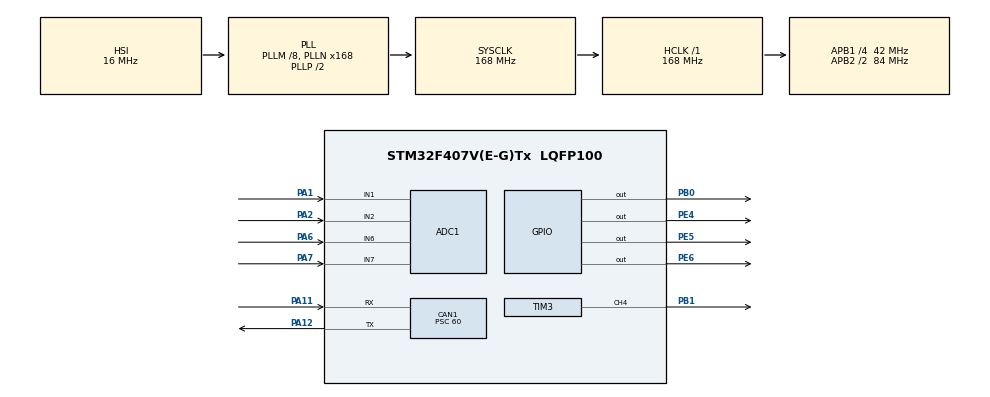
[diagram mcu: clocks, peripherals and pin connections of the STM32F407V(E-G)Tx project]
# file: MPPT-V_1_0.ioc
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ADC1.Channel-0\#ChannelRegularConversion=ADC_CHANNEL_6
ADC1.Channel-1\#ChannelRegularConversion=ADC_CHANNEL_7
ADC1.Channel-2\#ChannelRegularConversion=ADC_CHANNEL_1
ADC1.Channel-3\#ChannelRegularConversion=ADC_CHANNEL_2
ADC1.ClockPrescaler=ADC_CLOCK_SYNC_PCLK_DIV8
ADC1.ContinuousConvMode=ENABLE
ADC1.DMAContinuousRequests=ENABLE
ADC1.NbrOfConversion=4
ADC1.NbrOfConversionFlag=1
ADC1.Rank-0\#ChannelRegularConversion=1
ADC1.Rank-1\#ChannelRegularConversion=2
ADC1.Rank-2\#ChannelRegularConversion=3
ADC1.Rank-3\#ChannelRegularConversion=4
ADC1.SamplingTime-0\#ChannelRegularConversion=ADC_SAMPLETIME_15CYCLES
ADC1.SamplingTime-1\#ChannelRegularConversion=ADC_SAMPLETIME_15CYCLES
ADC1.SamplingTime-2\#ChannelRegularConversion=ADC_SAMPLETIME_15CYCLES
ADC1.SamplingTime-3\#ChannelRegularConversion=ADC_SAMPLETIME_15CYCLES
ADC1.ScanConvMode=ENABLE
ADC1.master=1
CAN1.BS1=CAN_BS1_11TQ
CAN1.BS2=CAN_BS2_2TQ
CAN1.CalculateBaudRate=50000
CAN1.CalculateTimeBit=19999.99
CAN1.CalculateTimeQuantum=1428.5714285714287
CAN1.Mode=CAN_MODE_LOOPBACK
CAN1.NART=ENABLE
CAN1.Prescaler=60
Dma.ADC1.0.Direction=DMA_PERIPH_TO_MEMORY
Dma.ADC1.0.FIFOMode=DMA_FIFOMODE_DISABLE
Dma.ADC1.0.Instance=DMA2_Stream0
Dma.ADC1.0.MemDataAlignment=DMA_MDATAALIGN_WORD
Dma.ADC1.0.MemInc=DMA_MINC_ENABLE
Dma.ADC1.0.Mode=DMA_CIRCULAR
Dma.ADC1.0.PeriphDataAlignment=DMA_PDATAALIGN_WORD
Dma.ADC1.0.PeriphInc=DMA_PINC_DISABLE
Dma.ADC1.0.Priority=DMA_PRIORITY_LOW
Dma.Request0=ADC1
Mcu.Family=STM32F4
Mcu.Name=STM32F407V(E-G)Tx
Mcu.Package=LQFP100
NVIC.DMA2_Stream0_IRQn=true\:0\:0\:false\:false\:true\:false\:true
NVIC.PriorityGroup=NVIC_PRIORITYGROUP_4
NVIC.TIM1_UP_TIM10_IRQn=true\:0\:0\:false\:false\:true\:true\:true
NVIC.TIM4_IRQn=true\:0\:0\:false\:false\:true\:true\:true
PA1.Signal=ADCx_IN1
PA11.GPIO_PuPd=GPIO_PULLDOWN
PA11.Mode=CAN_Activate
PA11.Signal=CAN1_RX
PA12.Mode=CAN_Activate
PA12.Signal=CAN1_TX
PA2.Signal=ADCx_IN2
PA6.Signal=ADCx_IN6
PA7.Signal=ADCx_IN7
PB0.Signal=GPIO_Output
PB1.Signal=S_TIM3_CH4
PC14-OSC32_IN.Mode=LSE-External-Oscillator
PC14-OSC32_IN.Signal=RCC_OSC32_IN
PC15-OSC32_OUT.Mode=LSE-External-Oscillator
PC15-OSC32_OUT.Signal=RCC_OSC32_OUT
PE4.Signal=GPIO_Output
PE5.Signal=GPIO_Output
PE6.Signal=GPIO_Output
PH0-OSC_IN.Mode=HSE-External-Oscillator
PH0-OSC_IN.Signal=RCC_OSC_IN
PH1-OSC_OUT.Mode=HSE-External-Oscillator
PH1-OSC_OUT.Signal=RCC_OSC_OUT
ProjectManager.HeapSize=0x200
ProjectManager.StackSize=0x400
ProjectManager.TargetToolchain=STM32CubeIDE
RCC.48MHZClocksFreq_Value=84000000
RCC.AHBFreq_Value=168000000
RCC.APB1CLKDivider=RCC_HCLK_DIV4
RCC.APB1Freq_Value=42000000
RCC.APB1TimFreq_Value=84000000
RCC.APB2CLKDivider=RCC_HCLK_DIV2
RCC.APB2Freq_Value=84000000
RCC.APB2TimFreq_Value=168000000
RCC.CortexFreq_Value=168000000
RCC.HCLKFreq_Value=168000000
RCC.HSE_VALUE=25000000
RCC.HSI_VALUE=16000000
RCC.PLLM=8
RCC.PLLN=168
RCC.SYSCLKFreq_VALUE=168000000
RCC.SYSCLKSource=RCC_SYSCLKSOURCE_PLLCLK
RCC.VCOOutputFreq_Value=336000000
SH.ADCx_IN1.0=ADC1_IN1,IN1
SH.ADCx_IN2.0=ADC1_IN2,IN2
SH.ADCx_IN6.0=ADC1_IN6,IN6
SH.ADCx_IN7.0=ADC1_IN7,IN7
SH.S_TIM3_CH4.0=TIM3_CH4,PWM Generation4 CH4
TIM1.Period=10000
TIM1.Prescaler=16800
TIM2.Period=1000
TIM2.Prescaler=84
TIM3.Channel-PWM\ Generation4\ CH4=TIM_CHANNEL_4
TIM3.Period=839
TIM3.Prescaler=0
TIM3.Pulse-PWM\ Generation4\ CH4=670
TIM4.Period=2000
TIM4.Prescaler=16800
VP_TIM1_VS_ClockSourceINT.Mode=Internal
VP_TIM2_VS_ClockSourceINT.Mode=Internal
VP_TIM4_VS_ClockSourceINT.Mode=Internal
board=custom

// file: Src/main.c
/* USER CODE BEGIN Header */
/**
  ******************************************************************************
  * @file           : main.c
  * @brief          : Main program body
  ******************************************************************************
  * @attention
  *
  * <h2><center>&copy; Copyright (c) 2020 STMicroelectronics.
  * All rights reserved.</center></h2>
  *
  * This software component is licensed by ST under BSD 3-Clause license,
  * the "License"; You may not use this file except in compliance with the
  * License. You may obtain a copy of the License at:
  *                        opensource.org/licenses/BSD-3-Clause
  *
  ******************************************************************************
  */
/* USER CODE END Header */
#include "main.h"
#include "adc.h"
#include "can.h"
#include "dma.h"
#include "tim.h"
#include "gpio.h"

/* USER CODE BEGIN Includes */
#include "utilities.h"
/* USER CODE END Includes */

void SystemClock_Config(void);

int main(void)
{
  /* USER CODE BEGIN 1 */
	isMPPTInitialised = 0;
  /* USER CODE END 1 */

  /* MCU Configuration--------------------------------------------------------*/

  /* Reset of all peripherals, Initializes the Flash interface and the Systick. */
  HAL_Init();

  /* Configure the system clock */
  SystemClock_Config();

  /* Initialize all configured peripherals */
  MX_GPIO_Init();
  MX_DMA_Init();
  MX_TIM3_Init();
  MX_ADC1_Init();
  MX_CAN1_Init();
  MX_TIM2_Init();
  MX_TIM1_Init();
  MX_TIM4_Init();
  /* USER CODE BEGIN 2 */

  CANFilerConfig();
  CAN1_Init();

  HAL_TIM_PWM_Start(&htim3, TIM_CHANNEL_4); 			//MCU_PWM
  HAL_GPIO_WritePin(GPIOB, GPIO_PIN_0, GPIO_PIN_SET);	//MCU_PWM_EN Register

  HAL_TIM_Base_Start_IT(&htim4);
  HAL_TIM_Base_Start_IT(&htim1);

  MPPTInit();

  enablePWM();
  /* USER CODE END 2 */

  /* Infinite loop */
  /* USER CODE BEGIN WHILE */

  while (1)
  {
	  storeMeasurements();
	  HAL_Delay(DELAY_BETWEEN_MEASUREMENTS);
	  sendCANData(0x1, 0x2, 0x3, 0x4, 0x5, 0x6, 0x7, 0x8);
	  HAL_Delay(1000);

    /* USER CODE END WHILE */

  }
}

void SystemClock_Config(void)
{
  RCC_OscInitTypeDef RCC_OscInitStruct = {0};
  RCC_ClkInitTypeDef RCC_ClkInitStruct = {0};

  /** Configure the main internal regulator output voltage
  */
  __HAL_RCC_PWR_CLK_ENABLE();
  __HAL_PWR_VOLTAGESCALING_CONFIG(PWR_REGULATOR_VOLTAGE_SCALE1);
  /** Initializes the RCC Oscillators according to the specified parameters
  * in the RCC_OscInitTypeDef structure.
  */
  RCC_OscInitStruct.OscillatorType = RCC_OSCILLATORTYPE_HSI;
  RCC_OscInitStruct.HSIState = RCC_HSI_ON;
  RCC_OscInitStruct.HSICalibrationValue = RCC_HSICALIBRATION_DEFAULT;
  RCC_OscInitStruct.PLL.PLLState = RCC_PLL_ON;
  RCC_OscInitStruct.PLL.PLLSource = RCC_PLLSOURCE_HSI;
  RCC_OscInitStruct.PLL.PLLM = 8;
  RCC_OscInitStruct.PLL.PLLN = 168;
  RCC_OscInitStruct.PLL.PLLP = RCC_PLLP_DIV2;
  RCC_OscInitStruct.PLL.PLLQ = 4;
  if (HAL_RCC_OscConfig(&RCC_OscInitStruct) != HAL_OK)
  {
    Error_Handler();
  }
  /** Initializes the CPU, AHB and APB buses clocks
  */
  RCC_ClkInitStruct.ClockType = RCC_CLOCKTYPE_HCLK|RCC_CLOCKTYPE_SYSCLK
                              |RCC_CLOCKTYPE_PCLK1|RCC_CLOCKTYPE_PCLK2;
  RCC_ClkInitStruct.SYSCLKSource = RCC_SYSCLKSOURCE_PLLCLK;
  RCC_ClkInitStruct.AHBCLKDivider = RCC_SYSCLK_DIV1;
  RCC_ClkInitStruct.APB1CLKDivider = RCC_HCLK_DIV4;
  RCC_ClkInitStruct.APB2CLKDivider = RCC_HCLK_DIV2;

  if (HAL_RCC_ClockConfig(&RCC_ClkInitStruct, FLASH_LATENCY_5) != HAL_OK)
  {
    Error_Handler();
  }
}

/* USER CODE BEGIN 4 */
void HAL_TIM_PeriodElapsedCallback(TIM_HandleTypeDef *htim)
{
	if(isMPPTInitialised)
	{
		if(htim->Instance == TIM1) // T = 1 s*/
		{
			sendCAN();
		}

		if(htim->Instance == TIM4) // T = 500ms
		{
			checkArrayConnection();
			//checkBatteryConnection();

			if(MPPTState == MPPT_STATE_GREEN)
			{
				void PandOAlgorithm();
			}
		}
	}
}

void PandOAlgorithm(void)
{
	uint32_t prevPowerValue = inputPower;
	calculateInputPower();

	if (prevStepDirection == STEP_UP)
	{
		if (inputPower > prevPowerValue)
			increseDutyCycle();
		else
			decreaseDutyCycle();
	}

	if(prevStepDirection == STEP_DOWN)
	{
		if (inputPower > prevPowerValue)
			decreaseDutyCycle();
		else
			increseDutyCycle();
	}
}

/* USER CODE END 4 */

void Error_Handler(void)
{
  /* USER CODE BEGIN Error_Handler_Debug */
  /* User can add his own implementation to report the HAL error return state */
	setYellowState();
  /* USER CODE END Error_Handler_Debug */
}

/************************ (C) COPYRIGHT STMicroelectronics *****END OF FILE****/
